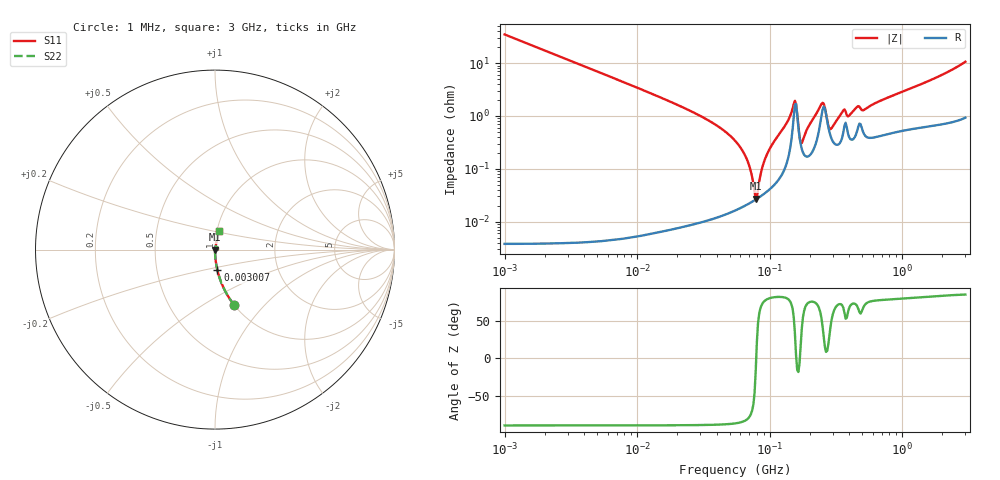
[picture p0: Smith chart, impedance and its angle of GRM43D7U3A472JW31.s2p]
!Murata Part Number: GRM43D7U3A472JW31
!These Parameters are Measured in Series Mode Connection
!Data Generated on Mar 30, 2021
!  o--ll--o
!Port1  Port2
!  o------o
!Operation Temp=25[degC], DC Bias Voltage=0[V]
!Freq. Start=1000[kHz] Stop=3[GHz] 401[Steps]
# Hz S RI R 50
!Freq.(Hz) S11(Real) S11(Imag) S21(Real) S21(Imag) S12(Real) S12(Imag) S22(Real) S22(Imag)
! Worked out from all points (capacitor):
!   401 points, 1 MHz to 3 GHz, reference 50 ohm
!   read as one part in series: C = 4.57 nF near 1.041 MHz
!   lowest |Z| = 27.3 mohm at 78.53 MHz (marker M1)
!   series resonance near 79.19 MHz, so ESL is about 880 pH
!   S11 on the Smith chart (normalised r, x): 1 MHz: 1.00, -0.70; 3.007 MHz: 1.00, -0.23; 3 GHz: 1.02, +0.21
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1000000  0.1083 -0.3108  0.8917 0.3108  0.8917 0.3108  0.1083 -0.3108
3006797  0.0133 -0.1142  0.9867 0.1142  0.9867 0.1142  0.0133 -0.1142
3823119  0.00825 -0.0902  0.9918 0.0902  0.9918 0.0902  0.00825 -0.0902
1.461624e7  0.000594 -0.023  0.9994 0.023  0.9994 0.023  0.000594 -0.023
3.456417e7  0.000174 -0.00823  0.9998 0.00823  0.9998 0.00823  0.000174 -0.00823
5.477226e7  0.000173 -0.00341  0.9998 0.00341  0.9998 0.00341  0.000173 -0.00341
6.690964e7  0.000209 -0.00155  0.9998 0.00155  0.9998 0.00155  0.000209 -0.00155
7.852918e7  0.000262 -7.8e-05  0.9997 7.8e-05  0.9997 7.8e-05  0.000262 -7.8e-05
9.593103e7  0.000378 0.00189  0.9996 -0.00189  0.9996 -0.00189  0.000378 0.00189
1.520175e8  0.00977 0.0134  0.9902 -0.0134  0.9902 -0.0134  0.00977 0.0134
1.582265e8  0.0166 0.00105  0.9834 -0.00105  0.9834 -0.00105  0.0166 0.00105
1.680187e8  0.00399 -0.000501  0.996 0.000501  0.996 0.000501  0.00399 -0.000501
1.748812e8  0.00236 0.00196  0.9976 -0.00196  0.9976 -0.00196  0.00236 0.00196
2.094008e8  0.00213 0.00798  0.9979 -0.00798  0.9979 -0.00798  0.00213 0.00798
2.507343e8  0.0131 0.0117  0.9869 -0.0117  0.9869 -0.0117  0.0131 0.0117
2.827291e8  0.00492 0.0029  0.9951 -0.0029  0.9951 -0.0029  0.00492 0.0029
2.942768e8  0.00362 0.00466  0.9964 -0.00466  0.9964 -0.00466  0.00362 0.00466
3.594878e8  0.00497 0.0116  0.995 -0.0116  0.995 -0.0116  0.00497 0.0116
3.973271e8  0.00408 0.00921  0.9959 -0.00921  0.9959 -0.00921  0.00408 0.00921
4.570858e8  0.00535 0.0138  0.9947 -0.0138  0.9947 -0.0138  0.00535 0.0138
8.005644e8  0.00509 0.0222  0.9949 -0.0222  0.9949 -0.0222  0.00509 0.0222
3e9  0.02 0.1029  0.98 -0.1029  0.98 -0.1029  0.02 0.1029
